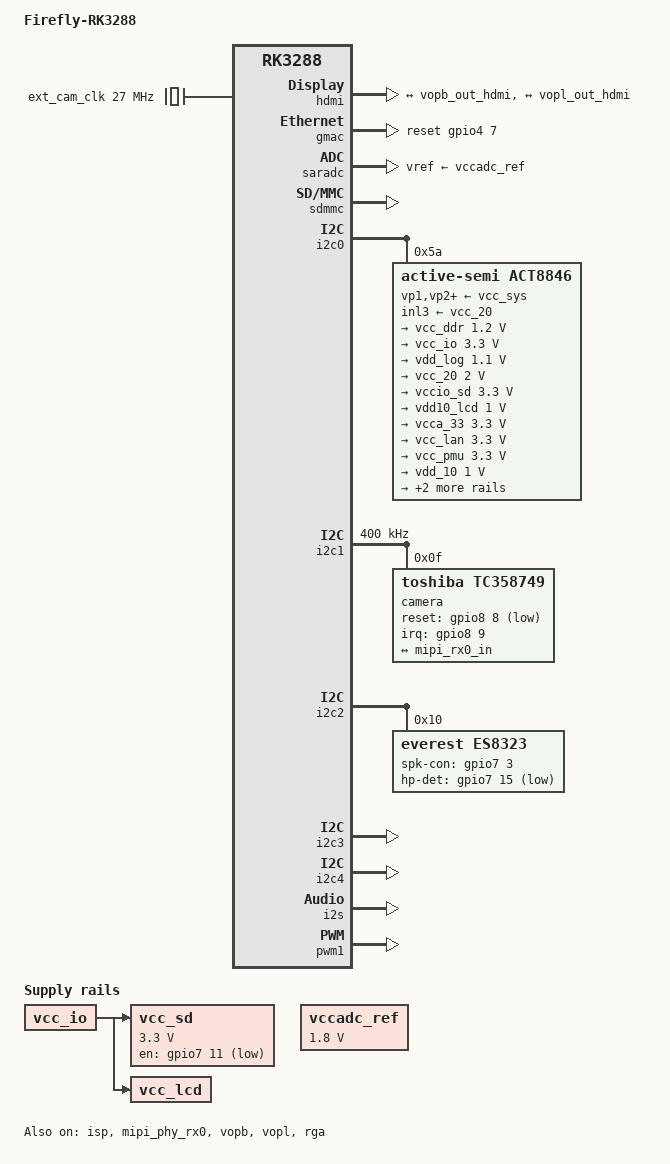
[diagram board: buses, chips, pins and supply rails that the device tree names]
/*
 * Copyright (c) 2017 Fuzhou Rockchip Electronics Co., Ltd
 *
 * SPDX-License-Identifier: (GPL-2.0+ OR MIT)
 */

/dts-v1/;
#include <dt-bindings/input/input.h>
#include <dt-bindings/pwm/pwm.h>
#include <dt-bindings/display/media-bus-format.h>
#include"rk3288-firefly.dtsi"
#include"rk3288-rkisp1.dtsi"

/ {
	model = "Firefly-RK3288";
	compatible = "firefly,firefly-rk3288", "rockchip,rk3288";

	/delete-node/ sdmmc-regulator;
	vcc_sd: sdmmc-regulator {
		compatible = "regulator-fixed";
		gpio = <&gpio7 11 GPIO_ACTIVE_LOW>;
		pinctrl-names = "default";
		pinctrl-0 = <&sdmmc_pwr>;
		regulator-name = "vcc_sd";
		regulator-min-microvolt = <3300000>;
		regulator-max-microvolt = <3300000>;
		startup-delay-us = <100000>;
		vin-supply = <&vcc_io>;
	};

	vcc_lcd: vcc-lcd {
		compatible = "regulator-fixed";
		regulator-boot-on;
		enable-active-high;
		pinctrl-names = "default";
		pinctrl-0 = <&lcd_en>;
		regulator-name = "vcc_lcd";
		vin-supply = <&vcc_io>;
	};

	sound: sound {
		status = "okay";
		compatible = "simple-audio-card";
		simple-audio-card,format = "i2s";
		simple-audio-card,name = "rockchip,firefly-codec";
		simple-audio-card,mclk-fs = <512>;
		simple-audio-card,widgets =
			"Microphone", "Microphone Jack",
			"Headphone", "Headphone Jack";
		simple-audio-card,routing =
			"MIC1", "Microphone Jack",
			"MIC2", "Microphone Jack",
			"Microphone Jack", "micbias1",
			"Headphone Jack", "HPOL",
			"Headphone Jack", "HPOR";

		simple-audio-card,dai-link@0 {
			format = "i2s";
			cpu {
				sound-dai = <&i2s>;
			};

			codec {
				sound-dai = <&es8323>;
			};
		};

		simple-audio-card,dai-link@1 {
			format = "i2s";
			cpu {
				sound-dai = <&i2s>;
			};

			codec {
				sound-dai = <&hdmi>;
			};
		};
	};

	spdif-sound {
		status = "okay";
		compatible = "simple-audio-card";
		simple-audio-card,name = "ROCKCHIP,SPDIF";
		simple-audio-card,cpu {
			sound-dai = <&spdif>;
		};
		simple-audio-card,codec {
			sound-dai = <&spdif_out>;
		};
	};

	backlight: backlight {
		pwms = <&pwm1 0 1000000 0>;
	};

	hdmi_analog_sound: hdmi-analog-sound {
		status = "disabled";
		rockchip,codec = <&es8323>, <&hdmi>;
	};

	vccadc_ref: vccadc-ref {
		compatible = "regulator-fixed";
		regulator-name = "vcc1v8_sys";
		regulator-always-on;
		regulator-boot-on;
		regulator-min-microvolt = <1800000>;
		regulator-max-microvolt = <1800000>;
	};

	/*
	 * NOTE: vcc_sd isn't hooked up on v1.0 boards where power comes from
	 * vcc_io directly.  Those boards won't be able to power cycle SD cards
	 * but it shouldn't hurt to toggle this pin there anyway.
	 */

	wireless-bluetooth {
		clocks = <&hym8563>;
		clock-names = "ext_clock";
	};

	ext_cam_clk: external-camera-clock {
		compatible = "fixed-clock";
		clock-frequency = <27000000>;
		clock-output-names = "CLK_CAMERA_27MHZ";
		#clock-cells = <0>;
	};
};

&ir{
	/delete-property/ pinctrl-0;
};

&hdmi {
	#address-cells = <1>;
	#size-cells = <0>;
	#sound-dai-cells = <0>;
	status = "okay";
	ports {
		hdmi_in: port {
			#address-cells = <1>;
			#size-cells = <0>;
			hdmi_in_vopb: endpoint@0 {
				reg = <0>;
				remote-endpoint = <&vopb_out_hdmi>;
			};
			hdmi_in_vopl: endpoint@1 {
				reg = <1>;
				remote-endpoint = <&vopl_out_hdmi>;
			};
		};
	};
};

&hdmi_in_vopb {
	status = "disabled";
};

&hdmi_in_vopl {
	status = "okay";
};

&gmac {
	snps,reset-gpio = <&gpio4 7 0>;
	pinctrl-0 = <&rgmii_pins>;
	max-speed = <100>;
	status = "okay";
};

&saradc {
	vref-supply = <&vccadc_ref>;
	status = "okay";
};

&sdmmc {
	sd-uhs-sdr12;
	sd-uhs-sdr25;
	sd-uhs-sdr50;
	sd-uhs-sdr104;
	pinctrl-0 = <&sdmmc_clk &sdmmc_cmd &sdmmc_cd &sdmmc_bus4>;
	status = "okay";
};

&edp {
	status = "disabled";
};

&i2c0{
	/delete-node/ act8846@5a;
};

&i2c0 {
	act8846: act8846@5a {
		compatible = "active-semi,act8846";
		reg = <0x5a>;
		pinctrl-names = "default";
		pinctrl-0 = <&pmic_vsel>, <&pwr_hold>;
		system-power-controller;

		vp1-supply = <&vcc_sys>;
		vp2-supply = <&vcc_sys>;
		vp3-supply = <&vcc_sys>;
		vp4-supply = <&vcc_sys>;
		inl1-supply = <&vcc_sys>;
		inl2-supply = <&vcc_sys>;
		inl3-supply = <&vcc_20>;

		regulators {
			vcc_ddr: REG1 {
				regulator-name = "vcc_ddr";
				regulator-min-microvolt = <1200000>;
				regulator-max-microvolt = <1200000>;
				regulator-always-on;
			};

			vcc_io: REG2 {
				regulator-name = "vcc_io";
				regulator-min-microvolt = <3300000>;
				regulator-max-microvolt = <3300000>;
				regulator-always-on;
			};

			vdd_log: REG3 {
				regulator-name = "vdd_log";
				regulator-min-microvolt = <1100000>;
				regulator-max-microvolt = <1100000>;
				regulator-always-on;
			};

			vcc_20: REG4 {
				regulator-name = "vcc_20";
				regulator-min-microvolt = <2000000>;
				regulator-max-microvolt = <2000000>;
				regulator-always-on;
			};

			vccio_sd: REG5 {
				regulator-name = "vccio_sd";
				regulator-min-microvolt = <3300000>;
				regulator-max-microvolt = <3300000>;
				regulator-always-on;
			};

			vdd10_lcd: REG6 {
				regulator-name = "vdd10_lcd";
				regulator-min-microvolt = <1000000>;
				regulator-max-microvolt = <1000000>;
				regulator-always-on;
			};

			vcca_33: REG7 {
				regulator-name = "vcca_33";
				regulator-min-microvolt = <3300000>;
				regulator-max-microvolt = <3300000>;
				regulator-always-on;
			};

			vcc_lan: REG8 {
				regulator-name = "vcc_lan";
				regulator-min-microvolt = <3300000>;
				regulator-max-microvolt = <3300000>;
				regulator-always-on;
				regulator-boot-on;
			};

			vcc_pmu: REG9 {
				regulator-name = "vcc_pmu";
				regulator-min-microvolt = <3300000>;
				regulator-max-microvolt = <3300000>;
				regulator-always-on;
			};

			vdd_10: REG10 {
				regulator-name = "vdd_10";
				regulator-min-microvolt = <1000000>;
				regulator-max-microvolt = <1000000>;
				regulator-always-on;
			};

			vccio_wl: vcc_18: REG11 {
				regulator-name = "vcc_18";
				regulator-min-microvolt = <1800000>;
				regulator-max-microvolt = <1800000>;
				regulator-always-on;
			};

			vcc18_lcd: REG12 {
				regulator-name = "vcc18_lcd";
				regulator-min-microvolt = <1800000>;
				regulator-max-microvolt = <1800000>;
				regulator-always-on;
			};
		};
	};
};

&i2c1 {
	status = "okay";
	clock-frequency = <400000>;

	camera: tc358749@0f {
		compatible = "toshiba,tc358749";
		reg = <0x0f>;
		clocks = <&ext_cam_clk>;
		clock-names = "refclk";

		pinctrl-names = "default";
		pinctrl-0 = <&hdmiin_gpios>;

		reset-gpios = <&gpio8 8 GPIO_ACTIVE_LOW>;

		interrupt-parent = <&gpio8>;
		interrupts = <9 IRQ_TYPE_LEVEL_LOW>;

		port {
			camera_out: endpoint {
				remote-endpoint = <&mipi_rx0_in>;
				clock-lanes = <0>;
				data-lanes = <1 2 3 4>;
				clock-noncontinuous;
				link-frequencies =
					/bits/ 64 <297000000>;
			};
		};
	};
};

&i2c2 {
	status = "okay";

	es8323: es8323@10 {
		status = "okay";
		compatible = "everest,es8323";
		reg = <0x10>;
		spk-con-gpio = <&gpio7 3 GPIO_ACTIVE_HIGH>;
		hp-det-gpio = <&gpio7 15 GPIO_ACTIVE_LOW>;
		clock-names = "mclk";
		clocks = <&cru SCLK_I2S0_OUT>;
		pinctrl-names = "default";
		pinctrl-0 = <&i2s0_mclk>;
		#sound-dai-cells = <0>;
	};
};

&i2c3 {
	status = "okay";
};

&i2c4 {
	status = "okay";
};

&i2s {
	#sound-dai-cells = <0>;
	status = "okay";
};

&pwm1 {
	status = "okay";
};

&isp {
	status = "okay";

	port {
		isp_mipi_in: endpoint {
			remote-endpoint = <&dphy_rx0_out>;
		};
	};
};

&isp_mmu {
	status = "okay";
};

&mipi_phy_rx0 {
	status = "okay";

	ports {
		#address-cells = <1>;
		#size-cells = <0>;

		port@0 {
			reg = <0>;

			mipi_rx0_in: endpoint {
				remote-endpoint = <&camera_out>;
				data-lanes = <1 2 3 4>;
			};
		};

		port@1 {
			reg = <1>;

			dphy_rx0_out: endpoint {
				remote-endpoint = <&isp_mipi_in>;
			};
		};
	};
};

&vopb {
	status = "okay";
		vopb_out: port {
			vopb_out_edp: endpoint@1 {
				reg = <1>;
				remote-endpoint = <&edp_in_vopb>;
			};
		};
};

&vopl {
	status = "okay";
	vopl_out: port {
		#address-cells = <1>;
		#size-cells = <0>;

		vopl_out_hdmi: endpoint@0 {
			reg = <0>;
			remote-endpoint = <&hdmi_in_vopl>;
		};
	};
};

&rga {
	status = "okay";
};

&tsadc {
	rockchip,hw-tshut-mode = <0>; /* tshut mode 0:CRU 1:GPIO */
	rockchip,hw-tshut-polarity = <1>; /* tshut polarity 0:LOW 1:HIGH */
	pinctrl-1 = <&otp_gpio>;
};

&pinctrl {

	/* sata:gpio0 c1  */
	init-gpios = <&gpio0 17 GPIO_ACTIVE_LOW>;

	pcfg_output_high: pcfg-output-high {
		output-high;
	};

	pcfg_output_low: pcfg-output-low {
		output-low;
	};
	pmic {
		pmic_int: pmic-int {
			rockchip,pins = <RK_GPIO0 4 RK_FUNC_GPIO &pcfg_pull_up>;
		};
	};

	lcd {
		lcd_cs: lcd-cs {
			rockchip,pins = <7 4 RK_FUNC_GPIO &pcfg_pull_none>;
		};

		lcd_en: lcd-en  {
			rockchip,pins = <7 3 RK_FUNC_GPIO &pcfg_pull_none>;
		};
	};

	act8846 {
		pmic_vsel: pmic-vsel {
			rockchip,pins = <7 14 RK_FUNC_GPIO &pcfg_output_low>;
		};

		pwr_hold: pwr-hold {
			rockchip,pins = <0 1 RK_FUNC_GPIO &pcfg_output_high>;
		};
	};

	backlight {
		bl_en: bl-en {
			rockchip,pins = <7 2 RK_FUNC_GPIO &pcfg_pull_none>;
		};
	};

	buttons {
		pwrbtn: pwrbtn {
			rockchip,pins = <0 5 RK_FUNC_GPIO &pcfg_pull_up>;
		};
	};

	hdmiin {
		hdmiin_gpios: hdmiin_gpios {
			rockchip,pins =
				<7 5 RK_FUNC_GPIO &pcfg_output_high>,
				<7 21 RK_FUNC_GPIO &pcfg_output_high>,
				<8 8 RK_FUNC_GPIO &pcfg_pull_none>,
				<8 9 RK_FUNC_GPIO &pcfg_pull_none>;
		};
	};

	i2c1 {
		i2c1_xfer: i2c1-xfer {
			rockchip,pins = <8 4 RK_FUNC_1 &pcfg_pull_up>,
				<8 5 RK_FUNC_1 &pcfg_pull_up>;
		};
	};
};
